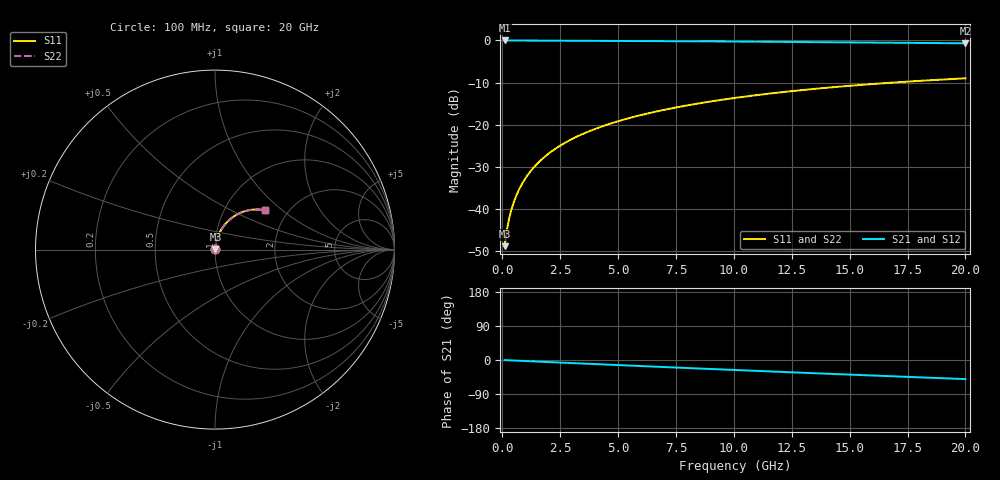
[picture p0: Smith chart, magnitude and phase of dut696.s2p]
! Touchstone file exported from HFSS 2026.1.0
!  File:  C:/ffzhzh/LocalFiles/Ansys_Project_Files/temp_train_TMRDL_696_1783010381_46388.aedt
!  Generated:  12:41:10 AM Jul  3, 2026
!  Design:  TMRDL
!  Project:  temp_train_TMRDL_696_1783010381_46388
! Variables:
!  h_bsmrdl = 2um
!  h_ox = 20um
!  h_rdl = 5um
!  h_sub = 80um
!  h_tmrdl = 4.35um
!  h_tsv = 80um
!  h_via = 3um
!  l_bsmrdl = 300um
!  l_sub = 1200.76um
!  l_tmrdl = 800.76um
!  m_sub = 200um
!  pitch = 50.81um
!  r_tsv = 6um
!  s_tmrdl = 10um
!  w_bsmrdl = 18um
!  w_sub = 500um
!  w_tmrdl = 28.4um
!  x_tsv_center1 = 814.96um
!  x_tsv_center2 = 1132.96um
!  x_tsv_center3 = 1962.12um
!  x_tsv_center4 = 2280.12um
!  x_tsv_center5 = 3109.28um
!  x_tsv_center6 = 3427.28um
# GHz S MA R 50.000000
! Terminal data exported
! Port[1] = TM_RDL1_1_T1
! Port[2] = TM_RDL1_1_T2
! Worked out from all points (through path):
!   200 points, 100 MHz to 20 GHz, reference 50 ohm
!   highest |S21| = -0.02 dB at 100 MHz (marker M1); lowest = -0.7 dB at 20 GHz (marker M2)
!   group delay of S21, straight-line fit = 6.99 ps
!   lowest |S11| = -48.8 dB at 100 MHz (marker M3), VSWR 1.01, Z = 50.3 + j0.261 ohm
!   |S11| at or under -10 dB: start of sweep to 16.87 GHz
!   |S22| runs from -48.8 to -9.0 dB; largest |S21 - S12| = 1.4e-14
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0.1  0.00365 45.3  0.9974 -0.3  0.9974 -0.3  0.00365 45.3
! Gamma 0 0 0 0
! Port Impedance 50 0 50 0
0.2  0.005741 60.2  0.9972 -0.6  0.9972 -0.6  0.005742 60.2
0.3  0.007879 66.8  0.997 -0.8  0.997 -0.8  0.007879 66.8
0.4  0.01002 70.8  0.9968 -1.1  0.9968 -1.1  0.01002 70.8
0.5  0.01219 73.4  0.9967 -1.4  0.9967 -1.4  0.01219 73.4
0.6  0.01437 75.2  0.9966 -1.7  0.9966 -1.7  0.01437 75.2
0.8  0.01878 77.4  0.9965 -2.2  0.9965 -2.2  0.01878 77.4
1.1  0.02546 79.0  0.9962 -3.0  0.9962 -3.0  0.02546 79.1
1.5  0.0344 79.7  0.9957 -4.1  0.9957 -4.1  0.0344 79.7
1.8  0.0411 79.7  0.9953 -4.9  0.9953 -4.9  0.0411 79.7
2.1  0.04777 79.4  0.9948 -5.7  0.9948 -5.7  0.04777 79.4
2.7  0.06102 78.4  0.9936 -7.3  0.9936 -7.3  0.06102 78.4
3.5  0.07841 76.7  0.9918 -9.5  0.9918 -9.5  0.07841 76.8
4.2  0.09336 75.1  0.9899 -11.3  0.9899 -11.3  0.09336 75.1
5  0.1101 73.2  0.9875 -13.4  0.9875 -13.4  0.1101 73.2
5.9  0.1286 71.1  0.9846 -15.8  0.9846 -15.8  0.1286 71.1
6.8  0.1466 68.9  0.9815 -18.1  0.9815 -18.1  0.1466 68.9
8.3  0.1757 65.2  0.9759 -22.0  0.9759 -22.0  0.1757 65.3
10.1  0.209 60.9  0.9685 -26.5  0.9685 -26.5  0.209 60.9
13.4  0.265 53.0  0.9538 -34.7  0.9538 -34.7  0.265 53.1
16.7  0.3139 45.3  0.9383 -42.7  0.9383 -42.7  0.3138 45.4
20  0.3552 37.9  0.9232 -50.4  0.9232 -50.4  0.3551 37.9
